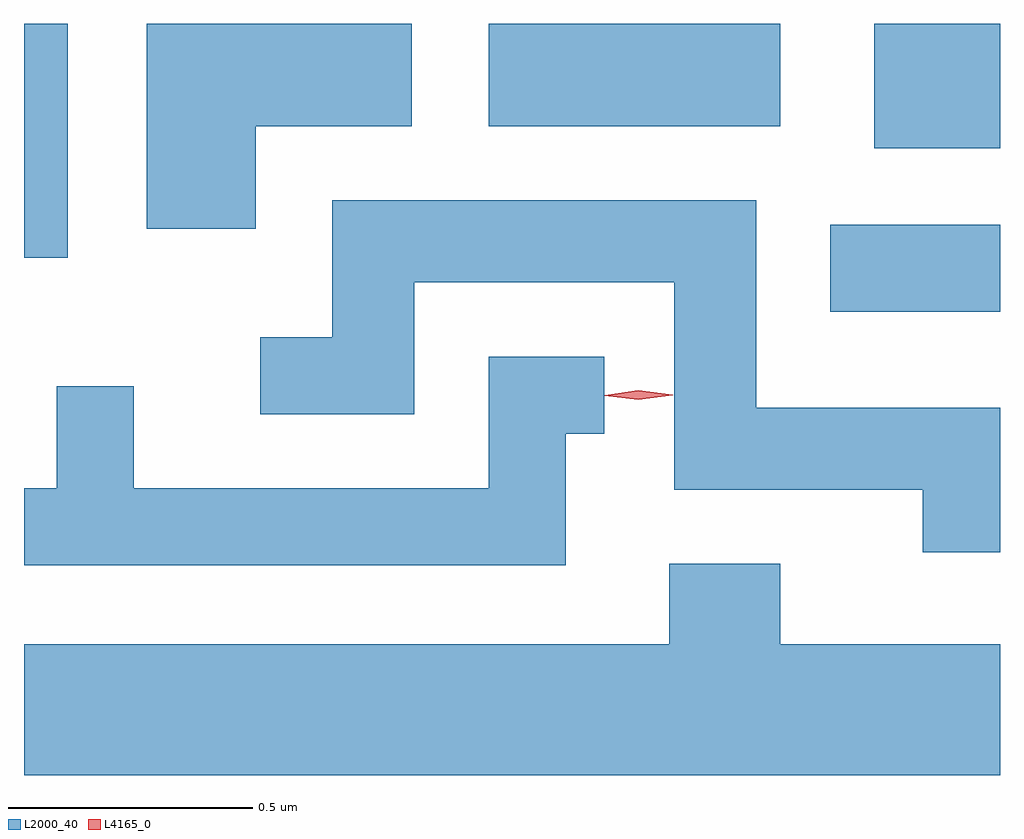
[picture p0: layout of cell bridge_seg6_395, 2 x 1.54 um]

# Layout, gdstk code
import gdstk
lib = gdstk.Library(unit=1e-6, precision=1e-09)
def R(c, l, rs):  # rectangles x0, y0, x1, y1
    for r in rs: c.add(gdstk.rectangle(r[:2], r[2:], *l))
def P(c, l, *ps):  # polygons
    for p in ps: c.add(gdstk.Polygon(p, *l))
L2000_40 = (2000, 40)
L4165_0 = (4165, 0)

bridge_seg6_395 = lib.new_cell('bridge_seg6_395')
R(bridge_seg6_395, L2000_40, [(943.801,1626.466,944.149,1626.644), (942.149,1626.576,942.239,1627.056), (943.891,1626.801,944.149,1627.056), (943.101,1626.846,943.699,1627.056)])
P(bridge_seg6_395, L2000_40, [(942.624,1626.846),(942.944,1626.846),(942.944,1627.056),(942.401,1627.056),(942.401,1626.636),(942.624,1626.636)],
  [(944.149,1626.269),(943.649,1626.269),(943.649,1626.694),(942.781,1626.694),(942.781,1626.414),(942.633,1626.414),(942.633,1626.256),(942.949,1626.256),(942.949,1626.526),(943.481,1626.526),(943.481,1626.101),(943.991,1626.101),(943.991,1625.973),(944.149,1625.973)],
  [(943.259,1626.216),(943.338,1626.216),(943.338,1626.374),(943.101,1626.374),(943.101,1626.104),(942.374,1626.104),(942.374,1626.313),(942.216,1626.313),(942.216,1626.104),(942.149,1626.104),(942.149,1625.946),(943.259,1625.946)],
  [(944.149,1625.784),(943.699,1625.784),(943.699,1625.949),(943.471,1625.949),(943.471,1625.784),(942.149,1625.784),(942.149,1625.516),(944.149,1625.516)])
P(bridge_seg6_395, L4165_0, [(943.408,1626.285),(943.339,1626.294),(943.339,1626.295),(943.339,1626.295),(943.408,1626.305),(943.478,1626.296),(943.478,1626.296),(943.478,1626.295)])

lib.write_gds('bridge_seg6_395.gds')
